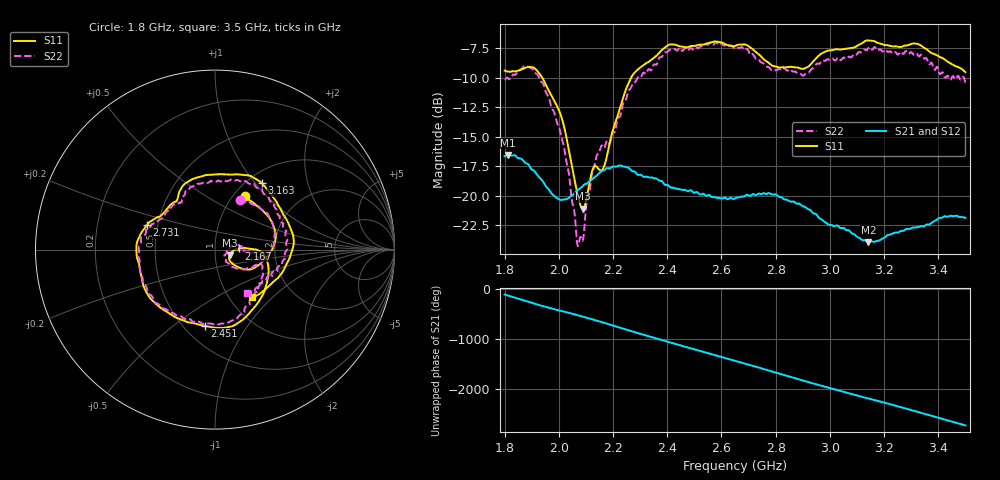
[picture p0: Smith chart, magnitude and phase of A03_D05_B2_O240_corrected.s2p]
! Created with skrf 1.9.0 (http://scikit-rf.org).
# Hz S RI R 50.0
!freq ReS11 ImS11 ReS21 ImS21 ReS12 ImS12 ReS22 ImS22
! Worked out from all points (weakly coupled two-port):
!   1601 points, 1.8 GHz to 3.5 GHz, reference 50 ohm
!   highest |S21| = -16.55 dB at 1.812 GHz (marker M1); lowest = -23.9 dB at 3.142 GHz (marker M2)
!   lowest |S11| = -21.1 dB at 2.089 GHz (marker M3), VSWR 1.19, Z = 58.8 - j3.82 ohm
!   |S11| at or under -10 dB: 1.939 GHz to 2.266 GHz (327.1 MHz wide, 15.6 % of centre)
!   |S22| runs from -24.3 to -7.0 dB; largest |S21 - S12| = 0.0029
!   S11 on the Smith chart (normalised r, x): 1.8 GHz: 1.13, +0.76; 2.167 GHz: 1.31, +0.02; 2.451 GHz: 0.63, -0.66; 2.731 GHz: 0.44, +0.14; 3.163 GHz: 1.17, +1.09; 3.5 GHz: 1.26, -0.75
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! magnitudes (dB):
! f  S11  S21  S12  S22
! 1.8 GHz  -9.4  -16.7  -16.7  -10.1
! 1.812 GHz  -9.5  -16.5  -16.6  -10.0
! 1.881 GHz  -9.1  -17.3  -17.3  -9.1
! 1.942 GHz  -10.1  -18.8  -18.8  -10.5
! 2.011 GHz  -13.5  -20.4  -20.4  -15.2
! 2.068 GHz  -19.7  -19.6  -19.6  -24.1
! 2.084 GHz  -21.0  -19.3  -19.3  -23.6
! 2.089 GHz  -21.1  -19.2  -19.2  -23.8
! 2.128 GHz  -17.6  -18.5  -18.5  -17.8
! 2.167 GHz  -17.5  -17.9  -17.8  -16.0
! 2.262 GHz  -10.2  -17.7  -17.7  -11.0
! 2.367 GHz  -8.0  -18.7  -18.6  -8.5
! 2.451 GHz  -7.3  -19.5  -19.5  -7.6
! 2.65 GHz  -7.3  -20.3  -20.2  -7.4
! 2.731 GHz  -7.9  -19.9  -19.9  -8.4
! 2.809 GHz  -9.1  -20.1  -20.0  -9.3
! 2.934 GHz  -8.7  -21.4  -21.4  -9.2
! 3.142 GHz  -6.8  -23.9  -23.9  -7.5
! 3.163 GHz  -6.9  -23.9  -23.9  -7.4
! 3.217 GHz  -7.3  -23.3  -23.3  -7.8
! 3.326 GHz  -7.1  -22.7  -22.7  -8.1
! 3.5 GHz  -9.5  -21.9  -21.9  -10.4
